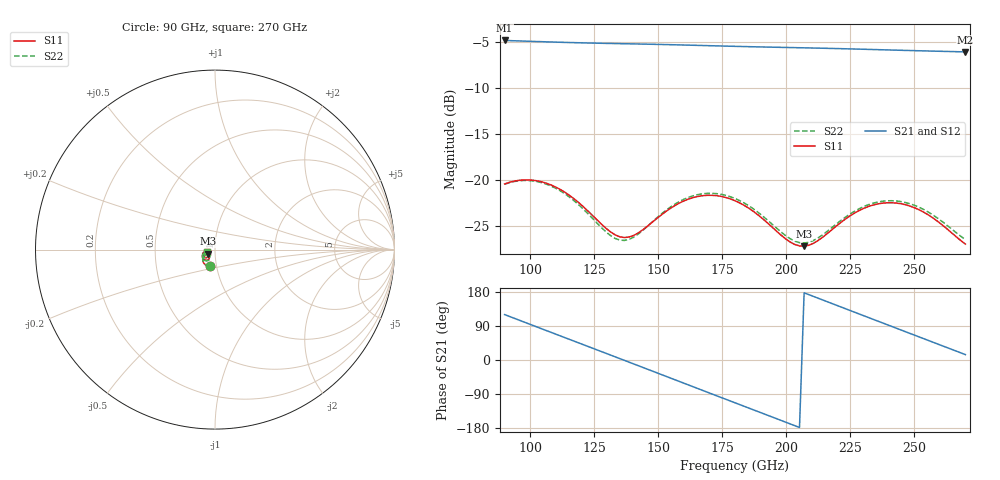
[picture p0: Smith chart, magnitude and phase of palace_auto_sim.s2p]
#  GHZ S DB R 50
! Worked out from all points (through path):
!   101 points, 90 GHz to 270 GHz, reference 50 ohm
!   highest |S21| = -4.86 dB at 90 GHz (marker M1); lowest = -6.1 dB at 270 GHz (marker M2)
!   group delay of S21, straight-line fit = 7.19 ps
!   lowest |S11| = -27.2 dB at 207 GHz (marker M3), VSWR 1.09, Z = 46.4 - j2.19 ohm
!   |S11| at or under -10 dB: start of sweep to end of sweep
!   |S22| runs from -26.8 to -20.1 dB; largest |S21 - S12| = 9.7e-14
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90  -20.44 -107.9  -4.86 119.9  -4.86 119.9  -20.47 -107.6
97.2  -20.00 -118.7  -4.93 101.2  -4.93 101.2  -20.06 -118.5
104.4  -20.20 -130.0  -4.99 82.6  -4.99 82.6  -20.29 -129.8
111.6  -21.01 -140.3  -5.06 64.0  -5.06 64.0  -21.16 -140.2
120.6  -22.87 -149.0  -5.12 40.9  -5.12 40.9  -23.13 -148.6
129.6  -25.25 -147.3  -5.18 17.6  -5.18 17.6  -25.63 -145.7
136.8  -26.25 -136.1  -5.22 -1.0  -5.22 -1.0  -26.56 -132.7
144  -25.41 -125.2  -5.26 -19.6  -5.26 -19.6  -25.47 -121.2
151.2  -23.80 -123.2  -5.30 -38.3  -5.30 -38.3  -23.70 -119.7
165.6  -21.78 -136.4  -5.40 -75.7  -5.40 -75.7  -21.58 -133.8
172.8  -21.71 -145.8  -5.45 -94.3  -5.45 -94.3  -21.49 -143.4
180  -22.25 -154.8  -5.50 -112.9  -5.50 -112.9  -22.01 -152.5
194.4  -25.10 -163.5  -5.59 -150.1  -5.59 -150.1  -24.78 -161.5
207  -27.19 -147.4  -5.66 177.3  -5.66 177.3  -26.84 -146.4
210.6  -26.88 -141.0  -5.68 167.9  -5.68 167.9  -26.58 -140.2
217.8  -25.41 -134.2  -5.73 149.2  -5.73 149.2  -25.18 -133.4
226.8  -23.58 -136.8  -5.79 125.9  -5.79 125.9  -23.38 -135.8
234  -22.72 -143.7  -5.85 107.2  -5.85 107.2  -22.52 -142.5
241.2  -22.47 -152.1  -5.90 88.6  -5.90 88.6  -22.25 -150.7
253.8  -23.51 -165.7  -5.99 56.1  -5.99 56.1  -23.22 -164.0
262.8  -25.31 -169.9  -6.06 32.8  -6.06 32.8  -24.92 -168.2
270  -26.96 -165.6  -6.10 14.2  -6.10 14.2  -26.47 -164.5
